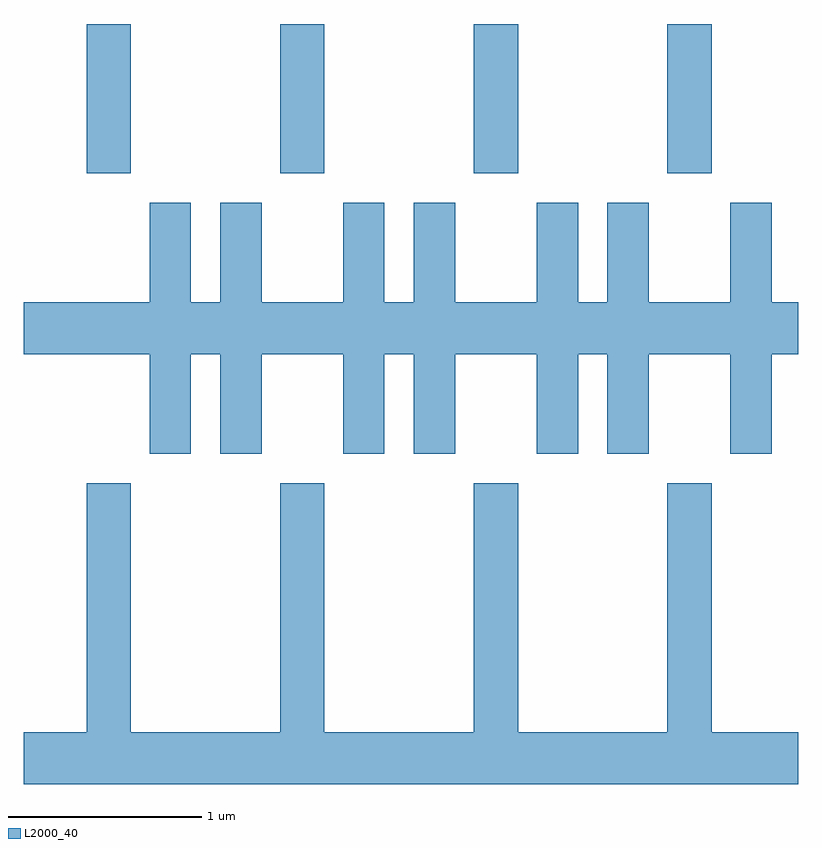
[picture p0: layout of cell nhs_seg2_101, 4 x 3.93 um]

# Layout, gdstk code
import gdstk
lib = gdstk.Library(unit=1e-6, precision=1e-09)
def R(c, l, rs):  # rectangles x0, y0, x1, y1
    for r in rs: c.add(gdstk.rectangle(r[:2], r[2:], *l))
def A(c, l, x, y, w, h, nx, ny, dx, dy):  # array of equal rectangles
    R(c, l, [(x+i*dx, y+j*dy, x+i*dx+w, y+j*dy+h) for i in range(nx) for j in range(ny)])
def P(c, l, *ps):  # polygons
    for p in ps: c.add(gdstk.Polygon(p, *l))
L2000_40 = (2000, 40)

nhs_seg2_101 = lib.new_cell('nhs_seg2_101')
A(nhs_seg2_101, L2000_40, 187.936, 1047.031, 0.228, 0.771, 4, 1, 1, 0)
P(nhs_seg2_101, L2000_40, [(188.474,1046.096),(188.626,1046.096),(188.626,1045.581),(188.839,1045.581),(188.839,1046.096),(189.261,1046.096),(189.261,1045.581),(189.474,1045.581),(189.474,1046.096),(189.626,1046.096),(189.626,1045.581),(189.839,1045.581),(189.839,1046.096),(190.261,1046.096),(190.261,1045.581),(190.474,1045.581),(190.474,1046.096),(190.626,1046.096),(190.626,1045.581),(190.839,1045.581),(190.839,1046.096),(191.261,1046.096),(191.261,1045.581),(191.474,1045.581),(191.474,1046.096),(191.611,1046.096),(191.611,1046.364),(191.474,1046.364),(191.474,1046.879),(191.261,1046.879),(191.261,1046.364),(190.839,1046.364),(190.839,1046.879),(190.626,1046.879),(190.626,1046.364),(190.474,1046.364),(190.474,1046.879),(190.261,1046.879),(190.261,1046.364),(189.839,1046.364),(189.839,1046.879),(189.626,1046.879),(189.626,1046.364),(189.474,1046.364),(189.474,1046.879),(189.261,1046.879),(189.261,1046.364),(188.839,1046.364),(188.839,1046.879),(188.626,1046.879),(188.626,1046.364),(188.474,1046.364),(188.474,1046.879),(188.261,1046.879),(188.261,1046.364),(187.611,1046.364),(187.611,1046.096),(188.261,1046.096),(188.261,1045.581),(188.474,1045.581)],
  [(191.611,1044.144),(191.164,1044.144),(191.164,1045.429),(190.936,1045.429),(190.936,1044.144),(190.164,1044.144),(190.164,1045.429),(189.936,1045.429),(189.936,1044.144),(189.164,1044.144),(189.164,1045.429),(188.936,1045.429),(188.936,1044.144),(188.164,1044.144),(188.164,1045.429),(187.936,1045.429),(187.936,1044.144),(187.611,1044.144),(187.611,1043.876),(191.611,1043.876)])

lib.write_gds('nhs_seg2_101.gds')
